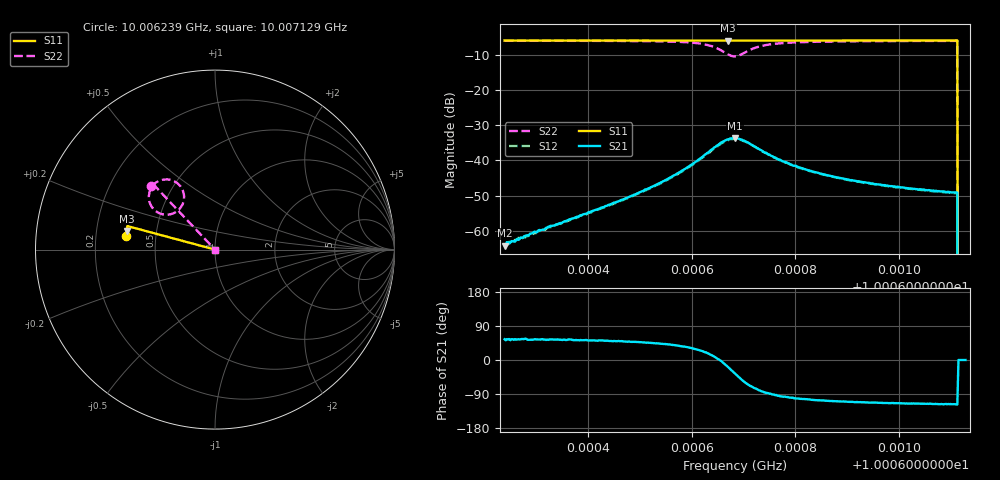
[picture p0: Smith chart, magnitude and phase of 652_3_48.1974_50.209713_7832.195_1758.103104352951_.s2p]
#  HZ  S  RI  R  50.00
! Rohde & Schwarz Vector Network Analyzer
! Rohde-Schwarz,ZNB20-2Port,1311601062101988,3.16
! Created: UTC 3/20/2024, 12:05:16 PM
! freq[Hz]  re:S11  im:S11  re:S21  im:S21  re:S12  im:S12  re:S22  im:S22
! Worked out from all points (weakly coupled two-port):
!   401 points, 10.006239 GHz to 10.007129 GHz, reference 50 ohm
!   highest |S21| = -33.67 dB at 10.006684 GHz (marker M1); lowest = -64.2 dB at 10.006239 GHz (marker M2)
!   lowest |S11| = -6.0 dB at 10.00667 GHz (marker M3), VSWR 3.02, Z = 16.7 + j4.61 ohm
!   |S11| at or under -10 dB: 10.007113 GHz to end of sweep
!   |S22| runs from - to -6.0 dB; largest |S21 - S12| = 0.0016
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1.00062388e10  -0.498 0.0755  0.000357 0.000503  0.000296 0.000527  -0.3544 0.352
1.00062611e10  -0.4978 0.0771  0.000442 0.000599  0.000376 0.000622  -0.3526 0.3539
1.00062922e10  -0.4975 0.0791  0.000548 0.000741  0.000492 0.000749  -0.3501 0.3565
1.000633e10  -0.497 0.0816  0.000677 0.000953  0.000651 0.000959  -0.3465 0.3597
1.00063879e10  -0.4966 0.0854  0.00102 0.00131  0.000978 0.00136  -0.3399 0.3652
1.00064702e10  -0.4957 0.0908  0.00187 0.00214  0.00175 0.00218  -0.3263 0.375
1.00065369e10  -0.495 0.0951  0.00341 0.00324  0.00315 0.00332  -0.3065 0.3849
1.00065858e10  -0.4943 0.0985  0.00608 0.00433  0.00575 0.00453  -0.2766 0.3911
1.00066236e10  -0.4933 0.1009  0.0109 0.00434  0.0103 0.00479  -0.2308 0.3828
1.00066481e10  -0.4925 0.1026  0.0161 0.00137  0.0154 0.00236  -0.1882 0.3462
1.00066704e10  -0.4917 0.1031  0.0188 -0.00641  0.0186 -0.00509  -0.1756 0.2674
1.00066837e10  -0.4917 0.1034  0.0168 -0.0122  0.0172 -0.0108  -0.2069 0.2177
1.00067037e10  -0.4921 0.1041  0.00947 -0.0161  0.0104 -0.0153  -0.2833 0.1953
1.00067349e10  -0.4926 0.1062  0.00179 -0.0138  0.00263 -0.0135  -0.3503 0.2355
1.00067638e10  -0.4925 0.1081  -0.000434 -0.0107  1.43e-05 -0.0106  -0.3663 0.2712
1.00067927e10  -0.4924 0.1102  -0.00146 -0.0086  -0.00099 -0.00854  -0.3686 0.295
1.00068327e10  -0.492 0.1129  -0.00181 -0.00673  -0.00142 -0.00675  -0.366 0.3152
1.00068972e10  -0.491 0.1172  -0.00183 -0.00512  -0.00158 -0.00509  -0.3596 0.3343
1.00069818e10  -0.4899 0.1226  -0.00175 -0.00396  -0.00152 -0.004  -0.3521 0.3484
1.00071085e10  -0.4882 0.1308  -0.00157 -0.00314  -0.00138 -0.00313  -0.3426 0.3619
1.00071197e10  0 0  0 0  0 0  0 0
1.00071286e10  0 0  0 0  0 0  0 0
